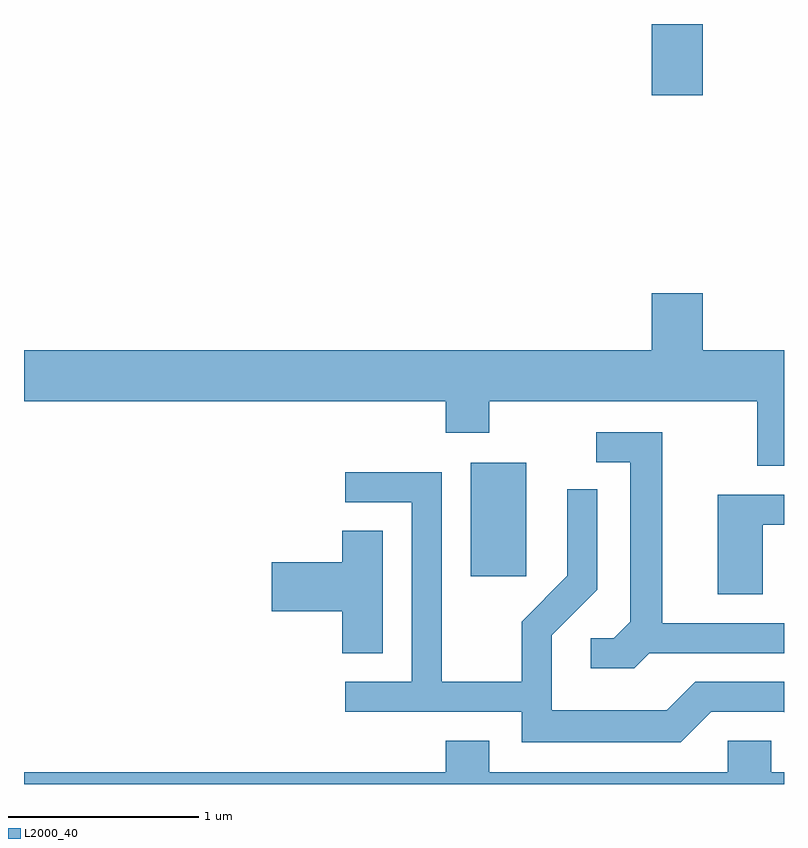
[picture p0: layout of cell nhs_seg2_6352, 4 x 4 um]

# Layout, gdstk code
import gdstk
lib = gdstk.Library(unit=1e-6, precision=1e-09)
def R(c, l, rs):  # rectangles x0, y0, x1, y1
    for r in rs: c.add(gdstk.rectangle(r[:2], r[2:], *l))
def P(c, l, *ps):  # polygons
    for p in ps: c.add(gdstk.Polygon(p, *l))
L2000_40 = (2000, 40)

nhs_seg2_6352 = lib.new_cell('nhs_seg2_6352')
R(nhs_seg2_6352, L2000_40, [(373.961,1102.896,374.254,1103.494), (374.916,1105.426,375.184,1105.802)])
P(nhs_seg2_6352, L2000_40, [(371.611,1103.816),(373.831,1103.816),(373.831,1103.651),(374.059,1103.651),(374.059,1103.816),(375.471,1103.816),(375.471,1103.476),(375.611,1103.476),(375.611,1104.084),(375.184,1104.084),(375.184,1104.384),(374.916,1104.384),(374.916,1104.084),(371.611,1104.084)],
  [(374.902,1102.491),(375.611,1102.491),(375.611,1102.649),(374.969,1102.649),(374.969,1103.654),(374.623,1103.654),(374.623,1103.496),(374.801,1103.496),(374.801,1102.657),(374.714,1102.569),(374.593,1102.569),(374.593,1102.411),(374.822,1102.411)],
  [(375.227,1102.181),(375.609,1102.181),(375.611,1102.179),(375.611,1102.339),(375.144,1102.339),(374.994,1102.189),(374.389,1102.189),(374.389,1102.584),(374.629,1102.824),(374.629,1103.353),(374.471,1103.353),(374.471,1102.897),(374.231,1102.657),(374.231,1102.339),(373.809,1102.339),(373.809,1103.444),(373.303,1103.444),(373.303,1103.286),(373.651,1103.286),(373.651,1102.339),(373.303,1102.339),(373.303,1102.181),(374.231,1102.181),(374.231,1102.021),(375.067,1102.021)],
  [(375.499,1103.166),(375.611,1103.166),(375.611,1103.324),(375.261,1103.324),(375.261,1102.801),(375.499,1102.801)],
  [(373.499,1103.134),(373.286,1103.134),(373.286,1102.969),(372.916,1102.969),(372.916,1102.711),(373.286,1102.711),(373.286,1102.491),(373.499,1102.491)],
  [(375.611,1101.864),(375.544,1101.864),(375.544,1102.029),(375.316,1102.029),(375.316,1101.864),(374.059,1101.864),(374.059,1102.029),(373.831,1102.029),(373.831,1101.864),(371.611,1101.864),(371.611,1101.802),(375.611,1101.802)])

lib.write_gds('nhs_seg2_6352.gds')
